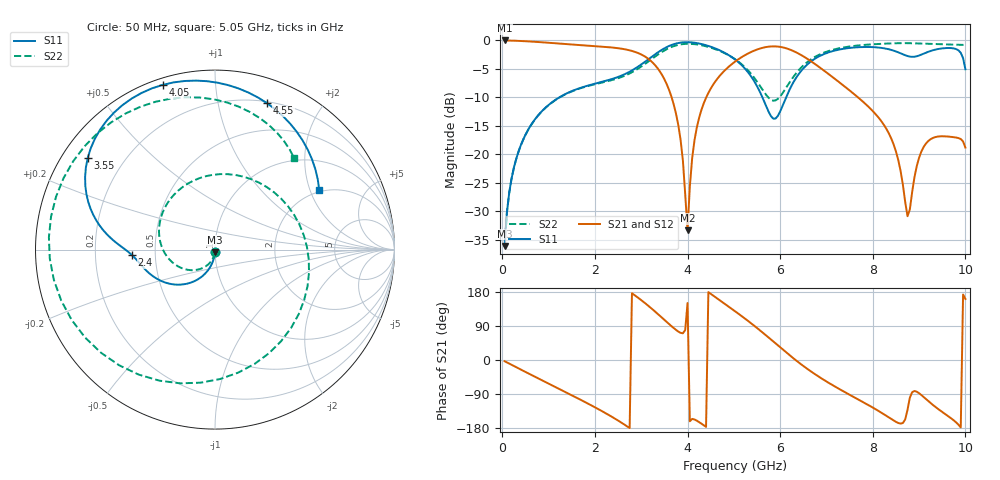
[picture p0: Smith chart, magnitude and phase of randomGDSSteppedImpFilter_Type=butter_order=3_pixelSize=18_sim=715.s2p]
! freq	dB(S11)	phase(S11)	dB(S12)	phase(S12)
!  dB(S21)	phase(S21)	dB(S22)	phase(S22)
!S-par simulation data
#  GHz  S  DB  R 50
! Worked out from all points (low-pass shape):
!   200 points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, 50 MHz to 10 GHz, reference 50 ohm
!   highest |S21| = -0.01 dB at 50 MHz (marker M1); lowest = -33.3 dB at 4 GHz (marker M2)
!   |S21| within 3 dB of the highest: start of sweep to 3.114 GHz; 5.154 GHz to 6.544 GHz (1.389 GHz wide, 23.8 % of centre)
!   lowest |S11| = -36.1 dB at 50 MHz (marker M3), VSWR 1.03, Z = 49.9 - j1.57 ohm
!   |S11| at or under -10 dB: start of sweep to 1.231 GHz; 5.617 GHz to 6.128 GHz (511.3 MHz wide, 8.71 % of centre)
!   |S22| runs from -36.1 to -0.5 dB; largest |S21 - S12| = 0
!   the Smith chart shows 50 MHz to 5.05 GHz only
!   S11 on the Smith chart (normalised r, x): 50 MHz: 1.00, -0.03; 2.4 GHz: 0.37, -0.03; 3.55 GHz: 0.07, +0.32; 4.05 GHz: 0.03, +0.73; 4.55 GHz: 0.21, +1.39; 5.05 GHz: 1.93, +2.32
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0.05  -36.10 -91.6  -0.01 -3.2  -0.01 -3.2  -36.11 -93.4
0.2  -24.24 -99.4  -0.04 -12.7  -0.04 -12.7  -24.28 -106.4
0.5  -16.56 -113.0  -0.14 -31.5  -0.14 -31.5  -16.60 -130.9
1.75  -8.17 -160.5  -0.86 -108.7  -0.86 -108.7  -8.24 122.0
2.4  -6.70 -176.1  -1.27 -152.3  -1.27 -152.3  -6.89 50.3
2.95  -4.51 172.9  -2.28 162.8  -2.28 162.8  -4.87 -29.6
3.4  -1.88 153.8  -5.41 116.9  -5.41 116.9  -2.27 -104.6
3.55  -1.18 144.3  -7.67 100.4  -7.67 100.4  -1.55 -129.6
3.85  -0.39 122.6  -17.45 71.6  -17.45 71.6  -0.71 -176.9
4  -0.31 111.4  -33.33 150.3  -33.33 150.3  -0.60 161.6
4.05  -0.33 107.6  -25.61 -161.7  -25.61 -161.7  -0.60 154.8
4.55  -1.25 70.5  -7.80 170.4  -7.80 170.4  -1.40 95.6
5.05  -3.49 29.8  -3.58 126.6  -3.58 126.6  -3.43 49.1
5.75  -12.51 -75.2  -1.10 59.4  -1.10 59.4  -10.06 23.0
6.2  -8.69 151.1  -1.57 13.0  -1.57 13.0  -7.41 44.5
6.7  -3.49 85.8  -3.85 -33.1  -3.85 -33.1  -3.14 21.7
7.65  -1.21 -0.3  -9.78 -101.7  -9.78 -101.7  -0.92 -26.9
8.35  -1.56 -80.1  -16.37 -151.8  -16.37 -151.8  -0.54 -54.7
8.75  -2.74 -171.8  -30.86 -131.5  -30.86 -131.5  -0.48 -69.1
9.05  -2.49 94.4  -19.49 -92.6  -19.49 -92.6  -0.57 -79.1
9.5  -1.40 4.7  -16.82 -137.2  -16.82 -137.2  -0.69 -92.4
10  -5.07 -67.1  -18.81 161.1  -18.81 161.1  -0.78 -106.1
